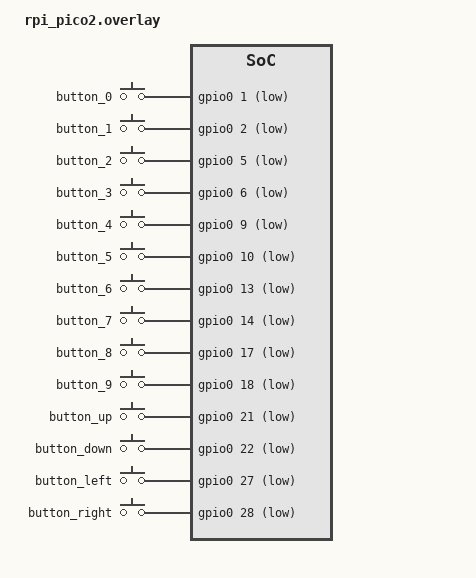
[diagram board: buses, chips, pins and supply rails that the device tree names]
#include <zephyr/dt-bindings/input/input-event-codes.h>

/ {
	buttons {
		compatible = "gpio-keys";
		button_0 {
			gpios = <&gpio0 1 (GPIO_PULL_UP | GPIO_ACTIVE_LOW)>;
			zephyr,code = <INPUT_BTN_0>;
		};
		button_1 {
			gpios = <&gpio0 2 (GPIO_PULL_UP | GPIO_ACTIVE_LOW)>;
			zephyr,code = <INPUT_BTN_1>;
		};
		button_2 {
			gpios = <&gpio0 5 (GPIO_PULL_UP | GPIO_ACTIVE_LOW)>;
			zephyr,code = <INPUT_BTN_2>;
		};
		button_3 {
			gpios = <&gpio0 6 (GPIO_PULL_UP | GPIO_ACTIVE_LOW)>;
			zephyr,code = <INPUT_BTN_3>;
		};
		button_4 {
			gpios = <&gpio0 9 (GPIO_PULL_UP | GPIO_ACTIVE_LOW)>;
			zephyr,code = <INPUT_BTN_4>;
		};
		button_5 {
			gpios = <&gpio0 10 (GPIO_PULL_UP | GPIO_ACTIVE_LOW)>;
			zephyr,code = <INPUT_BTN_5>;
		};
		button_6 {
			gpios = <&gpio0 13 (GPIO_PULL_UP | GPIO_ACTIVE_LOW)>;
			zephyr,code = <INPUT_BTN_6>;
		};
		button_7 {
			gpios = <&gpio0 14 (GPIO_PULL_UP | GPIO_ACTIVE_LOW)>;
			zephyr,code = <INPUT_BTN_7>;
		};
		button_8 {
			gpios = <&gpio0 17 (GPIO_PULL_UP | GPIO_ACTIVE_LOW)>;
			zephyr,code = <INPUT_BTN_8>;
		};
		button_9 {
			gpios = <&gpio0 18 (GPIO_PULL_UP | GPIO_ACTIVE_LOW)>;
			zephyr,code = <INPUT_BTN_9>;
		};
		button_up {
			gpios = <&gpio0 21 (GPIO_PULL_UP | GPIO_ACTIVE_LOW)>;
			zephyr,code = <INPUT_BTN_DPAD_UP>;
		};
		button_down {
			gpios = <&gpio0 22 (GPIO_PULL_UP | GPIO_ACTIVE_LOW)>;
			zephyr,code = <INPUT_BTN_DPAD_DOWN>;
		};
		button_left {
			gpios = <&gpio0 27 (GPIO_PULL_UP | GPIO_ACTIVE_LOW)>;
			zephyr,code = <INPUT_BTN_DPAD_LEFT>;
		};
		button_right {
			gpios = <&gpio0 28 (GPIO_PULL_UP | GPIO_ACTIVE_LOW)>;
			zephyr,code = <INPUT_BTN_DPAD_RIGHT>;
		};
	};
};
